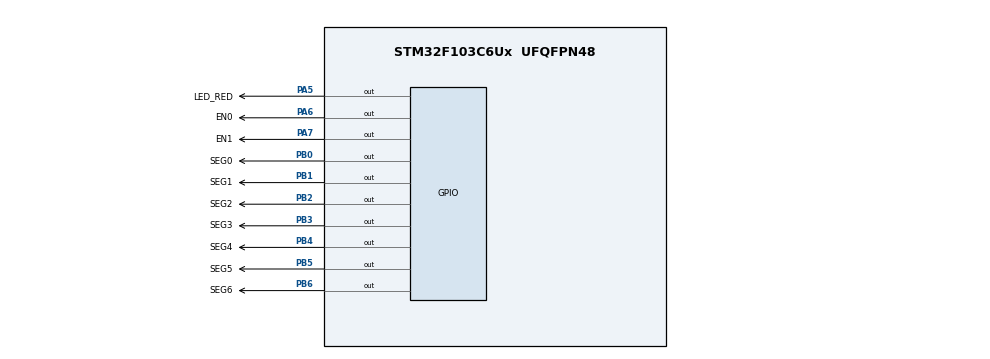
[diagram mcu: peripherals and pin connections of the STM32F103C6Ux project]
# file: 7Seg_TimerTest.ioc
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Mcu.Family=STM32F1
Mcu.Name=STM32F103C6Ux
Mcu.Package=UFQFPN48
NVIC.PriorityGroup=NVIC_PRIORITYGROUP_4
NVIC.TIM2_IRQn=true\:0\:0\:false\:false\:true\:true\:true
PA5.GPIO_Label=LED_RED
PA5.Signal=GPIO_Output
PA6.GPIO_Label=EN0
PA6.Signal=GPIO_Output
PA7.GPIO_Label=EN1
PA7.Signal=GPIO_Output
PB0.GPIO_Label=SEG0
PB0.Signal=GPIO_Output
PB1.GPIO_Label=SEG1
PB1.Signal=GPIO_Output
PB2.GPIO_Label=SEG2
PB2.Signal=GPIO_Output
PB3.GPIO_Label=SEG3
PB3.Signal=GPIO_Output
PB4.GPIO_Label=SEG4
PB4.Signal=GPIO_Output
PB5.GPIO_Label=SEG5
PB5.Signal=GPIO_Output
PB6.GPIO_Label=SEG6
PB6.Signal=GPIO_Output
ProjectManager.HeapSize=0x200
ProjectManager.StackSize=0x400
ProjectManager.TargetToolchain=STM32CubeIDE
RCC.APB1Freq_Value=8000000
RCC.APB2Freq_Value=8000000
TIM2.Period=9
TIM2.Prescaler=7999
VP_SYS_VS_ND.Mode=No_Debug
VP_TIM2_VS_ClockSourceINT.Mode=Internal
board=custom

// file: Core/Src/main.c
/* USER CODE BEGIN Header */
/**
  ******************************************************************************
  * @file           : main.c
  * @brief          : Main program body
  ******************************************************************************
  * @attention
  *
  * <h2><center>&copy; Copyright (c) 2026 STMicroelectronics.
  * All rights reserved.</center></h2>
  *
  * This software component is licensed by ST under BSD 3-Clause license,
  * the "License"; You may not use this file except in compliance with the
  * License. You may obtain a copy of the License at:
  *                        opensource.org/licenses/BSD-3-Clause
  *
  ******************************************************************************
  */
/* USER CODE END Header */
#include "main.h"
/* USER CODE BEGIN Includes */

#include "software_timer.h"
/* USER CODE END Includes */

TIM_HandleTypeDef htim2;

void SystemClock_Config(void);
static void MX_GPIO_Init(void);
static void MX_TIM2_Init(void);
/* USER CODE BEGIN PFP */

void display7SEG(int num);

/* USER CODE END PFP */

/* USER CODE BEGIN 0 */

int led_state = 0;

/* USER CODE END 0 */

int main(void)
{

  /* MCU Configuration--------------------------------------------------------*/

  /* Reset of all peripherals, Initializes the Flash interface and the Systick. */
  HAL_Init();

  /* Configure the system clock */
  SystemClock_Config();

  /* Initialize all configured peripherals */
  MX_GPIO_Init();
  MX_TIM2_Init();
  /* USER CODE BEGIN 2 */
  HAL_TIM_Base_Start_IT(&htim2);

  HAL_GPIO_WritePin(EN0_GPIO_Port, EN0_Pin, GPIO_PIN_SET);
  HAL_GPIO_WritePin(EN1_GPIO_Port, EN1_Pin, GPIO_PIN_SET);

  /* USER CODE END 2 */

  /* Infinite loop */
  /* USER CODE BEGIN WHILE */
  setTimer1(50);
  while (1)
  {
	if (timer1_flag == 1) {
		setTimer1(50); // Đặt lại bộ đếm cho 500ms tiếp theo

		if (led_state == 0) {
			HAL_GPIO_WritePin(EN1_GPIO_Port, EN1_Pin, GPIO_PIN_SET);
			display7SEG(1);
			HAL_GPIO_WritePin(EN0_GPIO_Port, EN0_Pin, GPIO_PIN_RESET);

			led_state = 1;
		} else {
			HAL_GPIO_WritePin(EN0_GPIO_Port, EN0_Pin, GPIO_PIN_SET);
			display7SEG(2);
			HAL_GPIO_WritePin(EN1_GPIO_Port, EN1_Pin, GPIO_PIN_RESET);

			led_state = 0;
		}
	}
    /* USER CODE END WHILE */
  }
}

void SystemClock_Config(void)
{
  RCC_OscInitTypeDef RCC_OscInitStruct = {0};
  RCC_ClkInitTypeDef RCC_ClkInitStruct = {0};

  /** Initializes the RCC Oscillators according to the specified parameters
  * in the RCC_OscInitTypeDef structure.
  */
  RCC_OscInitStruct.OscillatorType = RCC_OSCILLATORTYPE_HSI;
  RCC_OscInitStruct.HSIState = RCC_HSI_ON;
  RCC_OscInitStruct.HSICalibrationValue = RCC_HSICALIBRATION_DEFAULT;
  RCC_OscInitStruct.PLL.PLLState = RCC_PLL_NONE;
  if (HAL_RCC_OscConfig(&RCC_OscInitStruct) != HAL_OK)
  {
    Error_Handler();
  }
  /** Initializes the CPU, AHB and APB buses clocks
  */
  RCC_ClkInitStruct.ClockType = RCC_CLOCKTYPE_HCLK|RCC_CLOCKTYPE_SYSCLK
                              |RCC_CLOCKTYPE_PCLK1|RCC_CLOCKTYPE_PCLK2;
  RCC_ClkInitStruct.SYSCLKSource = RCC_SYSCLKSOURCE_HSI;
  RCC_ClkInitStruct.AHBCLKDivider = RCC_SYSCLK_DIV1;
  RCC_ClkInitStruct.APB1CLKDivider = RCC_HCLK_DIV1;
  RCC_ClkInitStruct.APB2CLKDivider = RCC_HCLK_DIV1;

  if (HAL_RCC_ClockConfig(&RCC_ClkInitStruct, FLASH_LATENCY_0) != HAL_OK)
  {
    Error_Handler();
  }
}

static void MX_TIM2_Init(void)
{

  TIM_ClockConfigTypeDef sClockSourceConfig = {0};
  TIM_MasterConfigTypeDef sMasterConfig = {0};

  htim2.Instance = TIM2;
  htim2.Init.Prescaler = 7999;
  htim2.Init.CounterMode = TIM_COUNTERMODE_UP;
  htim2.Init.Period = 9;
  htim2.Init.ClockDivision = TIM_CLOCKDIVISION_DIV1;
  htim2.Init.AutoReloadPreload = TIM_AUTORELOAD_PRELOAD_DISABLE;
  if (HAL_TIM_Base_Init(&htim2) != HAL_OK)
  {
    Error_Handler();
  }
  sClockSourceConfig.ClockSource = TIM_CLOCKSOURCE_INTERNAL;
  if (HAL_TIM_ConfigClockSource(&htim2, &sClockSourceConfig) != HAL_OK)
  {
    Error_Handler();
  }
  sMasterConfig.MasterOutputTrigger = TIM_TRGO_RESET;
  sMasterConfig.MasterSlaveMode = TIM_MASTERSLAVEMODE_DISABLE;
  if (HAL_TIMEx_MasterConfigSynchronization(&htim2, &sMasterConfig) != HAL_OK)
  {
    Error_Handler();
  }

}

static void MX_GPIO_Init(void)
{
  GPIO_InitTypeDef GPIO_InitStruct = {0};

  /* GPIO Ports Clock Enable */
  __HAL_RCC_GPIOA_CLK_ENABLE();
  __HAL_RCC_GPIOB_CLK_ENABLE();

  /*Configure GPIO pin Output Level */
  HAL_GPIO_WritePin(GPIOA, LED_RED_Pin|EN0_Pin|EN1_Pin, GPIO_PIN_RESET);

  /*Configure GPIO pin Output Level */
  HAL_GPIO_WritePin(GPIOB, SEG0_Pin|SEG1_Pin|SEG2_Pin|SEG3_Pin
                          |SEG4_Pin|SEG5_Pin|SEG6_Pin, GPIO_PIN_RESET);

  /*Configure GPIO pins : LED_RED_Pin EN0_Pin EN1_Pin */
  GPIO_InitStruct.Pin = LED_RED_Pin|EN0_Pin|EN1_Pin;
  GPIO_InitStruct.Mode = GPIO_MODE_OUTPUT_PP;
  GPIO_InitStruct.Pull = GPIO_NOPULL;
  GPIO_InitStruct.Speed = GPIO_SPEED_FREQ_LOW;
  HAL_GPIO_Init(GPIOA, &GPIO_InitStruct);

  /*Configure GPIO pins : SEG0_Pin SEG1_Pin SEG2_Pin SEG3_Pin
                           SEG4_Pin SEG5_Pin SEG6_Pin */
  GPIO_InitStruct.Pin = SEG0_Pin|SEG1_Pin|SEG2_Pin|SEG3_Pin
                          |SEG4_Pin|SEG5_Pin|SEG6_Pin;
  GPIO_InitStruct.Mode = GPIO_MODE_OUTPUT_PP;
  GPIO_InitStruct.Pull = GPIO_NOPULL;
  GPIO_InitStruct.Speed = GPIO_SPEED_FREQ_LOW;
  HAL_GPIO_Init(GPIOB, &GPIO_InitStruct);

}

/* USER CODE BEGIN 4 */

const uint8_t segment_code[10] = {
	0xC0, // 0
	0xF9, // 1
	0xA4, // 2
	0xB0, // 3
	0x99, // 4
	0x92, // 5
	0x82, // 6
	0xF8, // 7
	0x80, // 8
	0x90  // 9
};

void display7SEG(int num) {
	if (num < 0 || num > 9) return;

	uint8_t code = segment_code[num];

	HAL_GPIO_WritePin(SEG0_GPIO_Port, SEG0_Pin, (code & 0x01) ? GPIO_PIN_SET : GPIO_PIN_RESET);
	HAL_GPIO_WritePin(SEG1_GPIO_Port, SEG1_Pin, ((code >> 1) & 0x01) ? GPIO_PIN_SET : GPIO_PIN_RESET);
	HAL_GPIO_WritePin(SEG2_GPIO_Port, SEG2_Pin, ((code >> 2) & 0x01) ? GPIO_PIN_SET : GPIO_PIN_RESET);
	HAL_GPIO_WritePin(SEG3_GPIO_Port, SEG3_Pin, ((code >> 3) & 0x01) ? GPIO_PIN_SET : GPIO_PIN_RESET);
	HAL_GPIO_WritePin(SEG4_GPIO_Port, SEG4_Pin, ((code >> 4) & 0x01) ? GPIO_PIN_SET : GPIO_PIN_RESET);
	HAL_GPIO_WritePin(SEG5_GPIO_Port, SEG5_Pin, ((code >> 5) & 0x01) ? GPIO_PIN_SET : GPIO_PIN_RESET);
	HAL_GPIO_WritePin(SEG6_GPIO_Port, SEG6_Pin, ((code >> 6) & 0x01) ? GPIO_PIN_SET : GPIO_PIN_RESET);
}

void HAL_TIM_PeriodElapsedCallback(TIM_HandleTypeDef *htim) {
	timerRun();
}

/* USER CODE END 4 */

void Error_Handler(void)
{
  __disable_irq();
  while (1)
  {
  }
}

/************************ (C) COPYRIGHT STMicroelectronics *****END OF FILE****/
